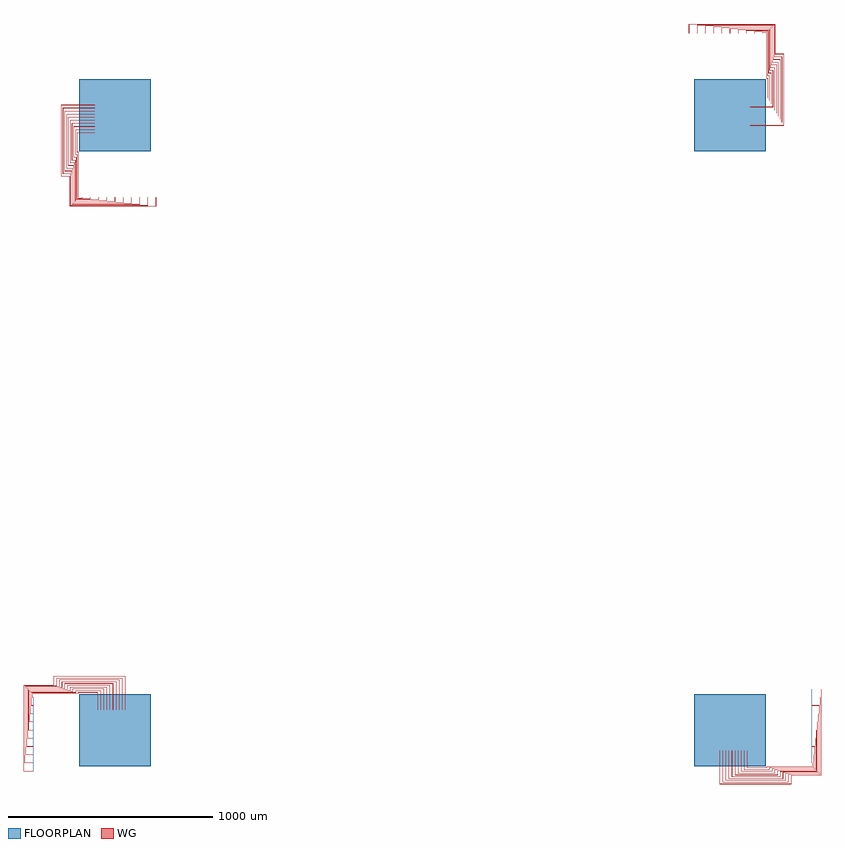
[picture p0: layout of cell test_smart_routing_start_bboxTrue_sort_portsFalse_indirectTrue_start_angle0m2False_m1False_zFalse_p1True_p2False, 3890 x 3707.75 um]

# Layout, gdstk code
import gdstk
lib = gdstk.Library(unit=1e-6, precision=1e-09)
def R(c, l, rs):  # rectangles x0, y0, x1, y1
    for r in rs: c.add(gdstk.rectangle(r[:2], r[2:], *l))
def P(c, l, *ps):  # polygons
    for p in ps: c.add(gdstk.Polygon(p, *l))
WG = (1, 0)
FLOORPLAN = (10, 0)

test_smart_routing_start = lib.new_cell('test_smart_routing_start_bboxTrue_sort_portsFalse_indirectTrue_start_angle0m2False_m1False_zFalse_p1True_p2False')
P(test_smart_routing_start, WG, [(-444.7,-199.95),(-444.7,219.7),(-298.45,219.7),(-298.45,262.45),(49.95,262.45),(49.95,100),(49.75,100),(49.75,262.25),(-298.25,262.25),(-298.25,219.5),(-444.5,219.5),(-444.5,-199.75),(-400,-199.75),(-400,-199.95)],
  [(-445,-200.25),(-445,220),(-298.75,220),(-298.75,262.75),(50.25,262.75),(50.25,100),(50.05,100),(50.05,262.55),(-298.55,262.55),(-298.55,219.8),(-444.8,219.8),(-444.8,-200.05),(-400,-200.05),(-400,-200.25)],
  [(-440.2,-159.95),(-440.2,215.2),(-285.2,215.2),(-285.2,253.7),(34.95,253.7),(34.95,100),(34.75,100),(34.75,253.5),(-285,253.5),(-285,215),(-440,215),(-440,-159.75),(-400,-159.75),(-400,-159.95)],
  [(-440.5,-160.25),(-440.5,215.5),(-285.5,215.5),(-285.5,254),(35.25,254),(35.25,100),(35.05,100),(35.05,253.8),(-285.3,253.8),(-285.3,215.3),(-440.3,215.3),(-440.3,-160.05),(-400,-160.05),(-400,-160.25)],
  [(-435.7,-119.95),(-435.7,210.7),(-271.95,210.7),(-271.95,244.95),(19.95,244.95),(19.95,100),(19.75,100),(19.75,244.75),(-271.75,244.75),(-271.75,210.5),(-435.5,210.5),(-435.5,-119.75),(-400,-119.75),(-400,-119.95)],
  [(-436,-120.25),(-436,211),(-272.25,211),(-272.25,245.25),(20.25,245.25),(20.25,100),(20.05,100),(20.05,245.05),(-272.05,245.05),(-272.05,210.8),(-435.8,210.8),(-435.8,-120.05),(-400,-120.05),(-400,-120.25)],
  [(-431.2,-79.95),(-431.2,206.2),(-258.7,206.2),(-258.7,236.2),(4.95,236.2),(4.95,100),(4.75,100),(4.75,236),(-258.5,236),(-258.5,206),(-431,206),(-431,-79.75),(-400,-79.75),(-400,-79.95)],
  [(-431.5,-80.25),(-431.5,206.5),(-259,206.5),(-259,236.5),(5.25,236.5),(5.25,100),(5.05,100),(5.05,236.3),(-258.8,236.3),(-258.8,206.3),(-431.3,206.3),(-431.3,-80.05),(-400,-80.05),(-400,-80.25)],
  [(-426.7,-39.95),(-426.7,201.7),(-245.45,201.7),(-245.45,227.45),(-10.05,227.45),(-10.05,100),(-10.25,100),(-10.25,227.25),(-245.25,227.25),(-245.25,201.5),(-426.5,201.5),(-426.5,-39.75),(-400,-39.75),(-400,-39.95)],
  [(-427,-40.25),(-427,202),(-245.75,202),(-245.75,227.75),(-9.75,227.75),(-9.75,100),(-9.95,100),(-9.95,227.55),(-245.55,227.55),(-245.55,201.8),(-426.8,201.8),(-426.8,-40.05),(-400,-40.05),(-400,-40.25)],
  [(-422.2,0.05),(-422.2,197.2),(-232.2,197.2),(-232.2,218.7),(-25.05,218.7),(-25.05,100),(-25.25,100),(-25.25,218.5),(-232,218.5),(-232,197),(-422,197),(-422,0.25),(-400,0.25),(-400,0.05)],
  [(-422.5,-0.25),(-422.5,197.5),(-232.5,197.5),(-232.5,219),(-24.75,219),(-24.75,100),(-24.95,100),(-24.95,218.8),(-232.3,218.8),(-232.3,197.3),(-422.3,197.3),(-422.3,-0.05),(-400,-0.05),(-400,-0.25)],
  [(-417.7,40.05),(-417.7,192.7),(-218.95,192.7),(-218.95,209.95),(-40.05,209.95),(-40.05,100),(-40.25,100),(-40.25,209.75),(-218.75,209.75),(-218.75,192.5),(-417.5,192.5),(-417.5,40.25),(-400,40.25),(-400,40.05)],
  [(-418,39.75),(-418,193),(-219.25,193),(-219.25,210.25),(-39.75,210.25),(-39.75,100),(-39.95,100),(-39.95,210.05),(-219.05,210.05),(-219.05,192.8),(-417.8,192.8),(-417.8,39.95),(-400,39.95),(-400,39.75)],
  [(-413.2,80.05),(-413.2,188.2),(-205.7,188.2),(-205.7,201.2),(-55.05,201.2),(-55.05,100),(-55.25,100),(-55.25,201),(-205.5,201),(-205.5,188),(-413,188),(-413,80.25),(-400,80.25),(-400,80.05)],
  [(-413.5,79.75),(-413.5,188.5),(-206,188.5),(-206,201.5),(-54.75,201.5),(-54.75,100),(-54.95,100),(-54.95,201.3),(-205.8,201.3),(-205.8,188.3),(-413.3,188.3),(-413.3,79.95),(-400,79.95),(-400,79.75)],
  [(-70.25,100),(-70.25,192.25),(-192.25,192.25),(-192.25,183.5),(-408.5,183.5),(-408.5,120.25),(-400,120.25),(-400,120.05),(-408.7,120.05),(-408.7,183.7),(-192.45,183.7),(-192.45,192.45),(-70.05,192.45),(-70.05,100)],
  [(-69.95,100),(-69.95,192.55),(-192.55,192.55),(-192.55,183.8),(-408.8,183.8),(-408.8,119.95),(-400,119.95),(-400,119.75),(-409,119.75),(-409,184),(-192.75,184),(-192.75,192.75),(-69.75,192.75),(-69.75,100)],
  [(-85.25,100),(-85.25,183.5),(-179,183.5),(-179,179),(-404,179),(-404,160.25),(-400,160.25),(-400,160.05),(-404.2,160.05),(-404.2,179.2),(-179.2,179.2),(-179.2,183.7),(-85.05,183.7),(-85.05,100)],
  [(-84.95,100),(-84.95,183.8),(-179.3,183.8),(-179.3,179.3),(-404.3,179.3),(-404.3,159.95),(-400,159.95),(-400,159.75),(-404.5,159.75),(-404.5,179.5),(-179.5,179.5),(-179.5,184),(-84.75,184),(-84.75,100)],
  [(-219.7,2555.3),(-219.7,2701.55),(-262.45,2701.55),(-262.45,3049.95),(-100,3049.95),(-100,3049.75),(-262.25,3049.75),(-262.25,2701.75),(-219.5,2701.75),(-219.5,2555.5),(199.75,2555.5),(199.75,2600),(199.95,2600),(199.95,2555.3)],
  [(-220,2555),(-220,2701.25),(-262.75,2701.25),(-262.75,3050.25),(-100,3050.25),(-100,3050.05),(-262.55,3050.05),(-262.55,2701.45),(-219.8,2701.45),(-219.8,2555.2),(200.05,2555.2),(200.05,2600),(200.25,2600),(200.25,2555)],
  [(-215.2,2559.8),(-215.2,2714.8),(-253.7,2714.8),(-253.7,3034.95),(-100,3034.95),(-100,3034.75),(-253.5,3034.75),(-253.5,2715),(-215,2715),(-215,2560),(159.75,2560),(159.75,2600),(159.95,2600),(159.95,2559.8)],
  [(-215.5,2559.5),(-215.5,2714.5),(-254,2714.5),(-254,3035.25),(-100,3035.25),(-100,3035.05),(-253.8,3035.05),(-253.8,2714.7),(-215.3,2714.7),(-215.3,2559.7),(160.05,2559.7),(160.05,2600),(160.25,2600),(160.25,2559.5)],
  [(-210.7,2564.3),(-210.7,2728.05),(-244.95,2728.05),(-244.95,3019.95),(-100,3019.95),(-100,3019.75),(-244.75,3019.75),(-244.75,2728.25),(-210.5,2728.25),(-210.5,2564.5),(119.75,2564.5),(119.75,2600),(119.95,2600),(119.95,2564.3)],
  [(-211,2564),(-211,2727.75),(-245.25,2727.75),(-245.25,3020.25),(-100,3020.25),(-100,3020.05),(-245.05,3020.05),(-245.05,2727.95),(-210.8,2727.95),(-210.8,2564.2),(120.05,2564.2),(120.05,2600),(120.25,2600),(120.25,2564)],
  [(-206.2,2568.8),(-206.2,2741.3),(-236.2,2741.3),(-236.2,3004.95),(-100,3004.95),(-100,3004.75),(-236,3004.75),(-236,2741.5),(-206,2741.5),(-206,2569),(79.75,2569),(79.75,2600),(79.95,2600),(79.95,2568.8)],
  [(-206.5,2568.5),(-206.5,2741),(-236.5,2741),(-236.5,3005.25),(-100,3005.25),(-100,3005.05),(-236.3,3005.05),(-236.3,2741.2),(-206.3,2741.2),(-206.3,2568.7),(80.05,2568.7),(80.05,2600),(80.25,2600),(80.25,2568.5)],
  [(-201.7,2573.3),(-201.7,2754.55),(-227.45,2754.55),(-227.45,2989.95),(-100,2989.95),(-100,2989.75),(-227.25,2989.75),(-227.25,2754.75),(-201.5,2754.75),(-201.5,2573.5),(39.75,2573.5),(39.75,2600),(39.95,2600),(39.95,2573.3)],
  [(-202,2573),(-202,2754.25),(-227.75,2754.25),(-227.75,2990.25),(-100,2990.25),(-100,2990.05),(-227.55,2990.05),(-227.55,2754.45),(-201.8,2754.45),(-201.8,2573.2),(40.05,2573.2),(40.05,2600),(40.25,2600),(40.25,2573)],
  [(-197.2,2577.8),(-197.2,2767.8),(-218.7,2767.8),(-218.7,2974.95),(-100,2974.95),(-100,2974.75),(-218.5,2974.75),(-218.5,2768),(-197,2768),(-197,2578),(-0.25,2578),(-0.25,2600),(-0.05,2600),(-0.05,2577.8)],
  [(-197.5,2577.5),(-197.5,2767.5),(-219,2767.5),(-219,2975.25),(-100,2975.25),(-100,2975.05),(-218.8,2975.05),(-218.8,2767.7),(-197.3,2767.7),(-197.3,2577.7),(0.05,2577.7),(0.05,2600),(0.25,2600),(0.25,2577.5)],
  [(-192.7,2582.3),(-192.7,2781.05),(-209.95,2781.05),(-209.95,2959.95),(-100,2959.95),(-100,2959.75),(-209.75,2959.75),(-209.75,2781.25),(-192.5,2781.25),(-192.5,2582.5),(-40.25,2582.5),(-40.25,2600),(-40.05,2600),(-40.05,2582.3)],
  [(-193,2582),(-193,2780.75),(-210.25,2780.75),(-210.25,2960.25),(-100,2960.25),(-100,2960.05),(-210.05,2960.05),(-210.05,2780.95),(-192.8,2780.95),(-192.8,2582.2),(-39.95,2582.2),(-39.95,2600),(-39.75,2600),(-39.75,2582)],
  [(-188.2,2586.8),(-188.2,2794.3),(-201.2,2794.3),(-201.2,2944.95),(-100,2944.95),(-100,2944.75),(-201,2944.75),(-201,2794.5),(-188,2794.5),(-188,2587),(-80.25,2587),(-80.25,2600),(-80.05,2600),(-80.05,2586.8)],
  [(-188.5,2586.5),(-188.5,2794),(-201.5,2794),(-201.5,2945.25),(-100,2945.25),(-100,2945.05),(-201.3,2945.05),(-201.3,2794.2),(-188.3,2794.2),(-188.3,2586.7),(-79.95,2586.7),(-79.95,2600),(-79.75,2600),(-79.75,2586.5)],
  [(-183.7,2591.3),(-183.7,2807.55),(-192.45,2807.55),(-192.45,2929.95),(-100,2929.95),(-100,2929.75),(-192.25,2929.75),(-192.25,2807.75),(-183.5,2807.75),(-183.5,2591.5),(-120.25,2591.5),(-120.25,2600),(-120.05,2600),(-120.05,2591.3)],
  [(-184,2591),(-184,2807.25),(-192.75,2807.25),(-192.75,2930.25),(-100,2930.25),(-100,2930.05),(-192.55,2930.05),(-192.55,2807.45),(-183.8,2807.45),(-183.8,2591.2),(-119.95,2591.2),(-119.95,2600),(-119.75,2600),(-119.75,2591)],
  [(-179.2,2595.8),(-179.2,2820.8),(-183.7,2820.8),(-183.7,2914.95),(-100,2914.95),(-100,2914.75),(-183.5,2914.75),(-183.5,2821),(-179,2821),(-179,2596),(-160.25,2596),(-160.25,2600),(-160.05,2600),(-160.05,2595.8)],
  [(-179.5,2595.5),(-179.5,2820.5),(-184,2820.5),(-184,2915.25),(-100,2915.25),(-100,2915.05),(-183.8,2915.05),(-183.8,2820.7),(-179.3,2820.7),(-179.3,2595.7),(-159.95,2595.7),(-159.95,2600),(-159.75,2600),(-159.75,2595.5)],
  [(2950.05,-262.45),(2950.05,-100),(2950.25,-100),(2950.25,-262.25),(3298.25,-262.25),(3298.25,-219.5),(3444.5,-219.5),(3444.5,199.75),(3400,199.75),(3400,199.95),(3444.7,199.95),(3444.7,-219.7),(3298.45,-219.7),(3298.45,-262.45)],
  [(2949.75,-262.75),(2949.75,-100),(2949.95,-100),(2949.95,-262.55),(3298.55,-262.55),(3298.55,-219.8),(3444.8,-219.8),(3444.8,200.05),(3400,200.05),(3400,200.25),(3445,200.25),(3445,-220),(3298.75,-220),(3298.75,-262.75)],
  [(2965.05,-253.7),(2965.05,-100),(2965.25,-100),(2965.25,-253.5),(3285,-253.5),(3285,-215),(3440,-215),(3440,159.75),(3400,159.75),(3400,159.95),(3440.2,159.95),(3440.2,-215.2),(3285.2,-215.2),(3285.2,-253.7)],
  [(2964.75,-254),(2964.75,-100),(2964.95,-100),(2964.95,-253.8),(3285.3,-253.8),(3285.3,-215.3),(3440.3,-215.3),(3440.3,160.05),(3400,160.05),(3400,160.25),(3440.5,160.25),(3440.5,-215.5),(3285.5,-215.5),(3285.5,-254)],
  [(2980.05,-244.95),(2980.05,-100),(2980.25,-100),(2980.25,-244.75),(3271.75,-244.75),(3271.75,-210.5),(3435.5,-210.5),(3435.5,119.75),(3400,119.75),(3400,119.95),(3435.7,119.95),(3435.7,-210.7),(3271.95,-210.7),(3271.95,-244.95)],
  [(2979.75,-245.25),(2979.75,-100),(2979.95,-100),(2979.95,-245.05),(3272.05,-245.05),(3272.05,-210.8),(3435.8,-210.8),(3435.8,120.05),(3400,120.05),(3400,120.25),(3436,120.25),(3436,-211),(3272.25,-211),(3272.25,-245.25)],
  [(2995.05,-236.2),(2995.05,-100),(2995.25,-100),(2995.25,-236),(3258.5,-236),(3258.5,-206),(3431,-206),(3431,79.75),(3400,79.75),(3400,79.95),(3431.2,79.95),(3431.2,-206.2),(3258.7,-206.2),(3258.7,-236.2)],
  [(2994.75,-236.5),(2994.75,-100),(2994.95,-100),(2994.95,-236.3),(3258.8,-236.3),(3258.8,-206.3),(3431.3,-206.3),(3431.3,80.05),(3400,80.05),(3400,80.25),(3431.5,80.25),(3431.5,-206.5),(3259,-206.5),(3259,-236.5)],
  [(3010.05,-227.45),(3010.05,-100),(3010.25,-100),(3010.25,-227.25),(3245.25,-227.25),(3245.25,-201.5),(3426.5,-201.5),(3426.5,39.75),(3400,39.75),(3400,39.95),(3426.7,39.95),(3426.7,-201.7),(3245.45,-201.7),(3245.45,-227.45)],
  [(3009.75,-227.75),(3009.75,-100),(3009.95,-100),(3009.95,-227.55),(3245.55,-227.55),(3245.55,-201.8),(3426.8,-201.8),(3426.8,40.05),(3400,40.05),(3400,40.25),(3427,40.25),(3427,-202),(3245.75,-202),(3245.75,-227.75)],
  [(3025.05,-218.7),(3025.05,-100),(3025.25,-100),(3025.25,-218.5),(3232,-218.5),(3232,-197),(3422,-197),(3422,-0.25),(3400,-0.25),(3400,-0.05),(3422.2,-0.05),(3422.2,-197.2),(3232.2,-197.2),(3232.2,-218.7)],
  [(3024.75,-219),(3024.75,-100),(3024.95,-100),(3024.95,-218.8),(3232.3,-218.8),(3232.3,-197.3),(3422.3,-197.3),(3422.3,0.05),(3400,0.05),(3400,0.25),(3422.5,0.25),(3422.5,-197.5),(3232.5,-197.5),(3232.5,-219)],
  [(3040.05,-209.95),(3040.05,-100),(3040.25,-100),(3040.25,-209.75),(3218.75,-209.75),(3218.75,-192.5),(3417.5,-192.5),(3417.5,-40.25),(3400,-40.25),(3400,-40.05),(3417.7,-40.05),(3417.7,-192.7),(3218.95,-192.7),(3218.95,-209.95)],
  [(3039.75,-210.25),(3039.75,-100),(3039.95,-100),(3039.95,-210.05),(3219.05,-210.05),(3219.05,-192.8),(3417.8,-192.8),(3417.8,-39.95),(3400,-39.95),(3400,-39.75),(3418,-39.75),(3418,-193),(3219.25,-193),(3219.25,-210.25)],
  [(3055.05,-201.2),(3055.05,-100),(3055.25,-100),(3055.25,-201),(3205.5,-201),(3205.5,-188),(3413,-188),(3413,-80.25),(3400,-80.25),(3400,-80.05),(3413.2,-80.05),(3413.2,-188.2),(3205.7,-188.2),(3205.7,-201.2)],
  [(3054.75,-201.5),(3054.75,-100),(3054.95,-100),(3054.95,-201.3),(3205.8,-201.3),(3205.8,-188.3),(3413.3,-188.3),(3413.3,-79.95),(3400,-79.95),(3400,-79.75),(3413.5,-79.75),(3413.5,-188.5),(3206,-188.5),(3206,-201.5)],
  [(3069.75,-192.75),(3069.75,-100),(3069.95,-100),(3069.95,-192.55),(3192.55,-192.55),(3192.55,-183.8),(3408.8,-183.8),(3408.8,-119.95),(3400,-119.95),(3400,-119.75),(3409,-119.75),(3409,-184),(3192.75,-184),(3192.75,-192.75)],
  [(3070.05,-192.45),(3070.05,-100),(3070.25,-100),(3070.25,-192.25),(3192.25,-192.25),(3192.25,-183.5),(3408.5,-183.5),(3408.5,-120.25),(3400,-120.25),(3400,-120.05),(3408.7,-120.05),(3408.7,-183.7),(3192.45,-183.7),(3192.45,-192.45)],
  [(3084.75,-184),(3084.75,-100),(3084.95,-100),(3084.95,-183.8),(3179.3,-183.8),(3179.3,-179.3),(3404.3,-179.3),(3404.3,-159.95),(3400,-159.95),(3400,-159.75),(3404.5,-159.75),(3404.5,-179.5),(3179.5,-179.5),(3179.5,-184)],
  [(3085.05,-183.7),(3085.05,-100),(3085.25,-100),(3085.25,-183.5),(3179,-183.5),(3179,-179),(3404,-179),(3404,-160.25),(3400,-160.25),(3400,-160.05),(3404.2,-160.05),(3404.2,-179.2),(3179.2,-179.2),(3179.2,-183.7)],
  [(3100,2950.05),(3100,2950.25),(3262.25,2950.25),(3262.25,3298.25),(3219.5,3298.25),(3219.5,3444.5),(2800.25,3444.5),(2800.25,3400),(2800.05,3400),(2800.05,3444.7),(3219.7,3444.7),(3219.7,3298.45),(3262.45,3298.45),(3262.45,2950.05)],
  [(3100,2949.75),(3100,2949.95),(3262.55,2949.95),(3262.55,3298.55),(3219.8,3298.55),(3219.8,3444.8),(2799.95,3444.8),(2799.95,3400),(2799.75,3400),(2799.75,3445),(3220,3445),(3220,3298.75),(3262.75,3298.75),(3262.75,2949.75)],
  [(3100,2965.05),(3100,2965.25),(3253.5,2965.25),(3253.5,3285),(3215,3285),(3215,3440),(2840.25,3440),(2840.25,3400),(2840.05,3400),(2840.05,3440.2),(3215.2,3440.2),(3215.2,3285.2),(3253.7,3285.2),(3253.7,2965.05)],
  [(3100,2964.75),(3100,2964.95),(3253.8,2964.95),(3253.8,3285.3),(3215.3,3285.3),(3215.3,3440.3),(2839.95,3440.3),(2839.95,3400),(2839.75,3400),(2839.75,3440.5),(3215.5,3440.5),(3215.5,3285.5),(3254,3285.5),(3254,2964.75)],
  [(3100,2980.05),(3100,2980.25),(3244.75,2980.25),(3244.75,3271.75),(3210.5,3271.75),(3210.5,3435.5),(2880.25,3435.5),(2880.25,3400),(2880.05,3400),(2880.05,3435.7),(3210.7,3435.7),(3210.7,3271.95),(3244.95,3271.95),(3244.95,2980.05)],
  [(3100,2979.75),(3100,2979.95),(3245.05,2979.95),(3245.05,3272.05),(3210.8,3272.05),(3210.8,3435.8),(2879.95,3435.8),(2879.95,3400),(2879.75,3400),(2879.75,3436),(3211,3436),(3211,3272.25),(3245.25,3272.25),(3245.25,2979.75)],
  [(3100,2995.05),(3100,2995.25),(3236,2995.25),(3236,3258.5),(3206,3258.5),(3206,3431),(2920.25,3431),(2920.25,3400),(2920.05,3400),(2920.05,3431.2),(3206.2,3431.2),(3206.2,3258.7),(3236.2,3258.7),(3236.2,2995.05)],
  [(3100,2994.75),(3100,2994.95),(3236.3,2994.95),(3236.3,3258.8),(3206.3,3258.8),(3206.3,3431.3),(2919.95,3431.3),(2919.95,3400),(2919.75,3400),(2919.75,3431.5),(3206.5,3431.5),(3206.5,3259),(3236.5,3259),(3236.5,2994.75)],
  [(3100,3010.05),(3100,3010.25),(3227.25,3010.25),(3227.25,3245.25),(3201.5,3245.25),(3201.5,3426.5),(2960.25,3426.5),(2960.25,3400),(2960.05,3400),(2960.05,3426.7),(3201.7,3426.7),(3201.7,3245.45),(3227.45,3245.45),(3227.45,3010.05)],
  [(3100,3009.75),(3100,3009.95),(3227.55,3009.95),(3227.55,3245.55),(3201.8,3245.55),(3201.8,3426.8),(2959.95,3426.8),(2959.95,3400),(2959.75,3400),(2959.75,3427),(3202,3427),(3202,3245.75),(3227.75,3245.75),(3227.75,3009.75)],
  [(3100,3025.05),(3100,3025.25),(3218.5,3025.25),(3218.5,3232),(3197,3232),(3197,3422),(3000.25,3422),(3000.25,3400),(3000.05,3400),(3000.05,3422.2),(3197.2,3422.2),(3197.2,3232.2),(3218.7,3232.2),(3218.7,3025.05)],
  [(3100,3024.75),(3100,3024.95),(3218.8,3024.95),(3218.8,3232.3),(3197.3,3232.3),(3197.3,3422.3),(2999.95,3422.3),(2999.95,3400),(2999.75,3400),(2999.75,3422.5),(3197.5,3422.5),(3197.5,3232.5),(3219,3232.5),(3219,3024.75)],
  [(3100,3040.05),(3100,3040.25),(3209.75,3040.25),(3209.75,3218.75),(3192.5,3218.75),(3192.5,3417.5),(3040.25,3417.5),(3040.25,3400),(3040.05,3400),(3040.05,3417.7),(3192.7,3417.7),(3192.7,3218.95),(3209.95,3218.95),(3209.95,3040.05)],
  [(3100,3039.75),(3100,3039.95),(3210.05,3039.95),(3210.05,3219.05),(3192.8,3219.05),(3192.8,3417.8),(3039.95,3417.8),(3039.95,3400),(3039.75,3400),(3039.75,3418),(3193,3418),(3193,3219.25),(3210.25,3219.25),(3210.25,3039.75)],
  [(3100,3055.05),(3100,3055.25),(3201,3055.25),(3201,3205.5),(3188,3205.5),(3188,3413),(3080.25,3413),(3080.25,3400),(3080.05,3400),(3080.05,3413.2),(3188.2,3413.2),(3188.2,3205.7),(3201.2,3205.7),(3201.2,3055.05)],
  [(3100,3054.75),(3100,3054.95),(3201.3,3054.95),(3201.3,3205.8),(3188.3,3205.8),(3188.3,3413.3),(3079.95,3413.3),(3079.95,3400),(3079.75,3400),(3079.75,3413.5),(3188.5,3413.5),(3188.5,3206),(3201.5,3206),(3201.5,3054.75)],
  [(3100,3070.05),(3100,3070.25),(3192.25,3070.25),(3192.25,3192.25),(3183.5,3192.25),(3183.5,3408.5),(3120.25,3408.5),(3120.25,3400),(3120.05,3400),(3120.05,3408.7),(3183.7,3408.7),(3183.7,3192.45),(3192.45,3192.45),(3192.45,3070.05)],
  [(3100,3069.75),(3100,3069.95),(3192.55,3069.95),(3192.55,3192.55),(3183.8,3192.55),(3183.8,3408.8),(3119.95,3408.8),(3119.95,3400),(3119.75,3400),(3119.75,3409),(3184,3409),(3184,3192.75),(3192.75,3192.75),(3192.75,3069.75)],
  [(3100,3085.05),(3100,3085.25),(3183.5,3085.25),(3183.5,3179),(3179,3179),(3179,3404),(3160.25,3404),(3160.25,3400),(3160.05,3400),(3160.05,3404.2),(3179.2,3404.2),(3179.2,3179.2),(3183.7,3179.2),(3183.7,3085.05)],
  [(3100,3084.75),(3100,3084.95),(3183.8,3084.95),(3183.8,3179.3),(3179.3,3179.3),(3179.3,3404.3),(3159.95,3404.3),(3159.95,3400),(3159.75,3400),(3159.75,3404.5),(3179.5,3404.5),(3179.5,3179.5),(3184,3179.5),(3184,3084.75)])
R(test_smart_routing_start, FLOORPLAN, [(-175,-175,175,175), (2825,-175,3175,175), (-175,2825,175,3175), (2825,2825,3175,3175)])
P(test_smart_routing_start, FLOORPLAN, [(-400,-200),(-400,160),(-400,160),(-400,-200)],
  [(-160,2600),(-160,2600),(200,2600),(200,2600)],
  [(3400,-160),(3400,200),(3400,200),(3400,-160)],
  [(2800,3400),(2800,3400),(3160,3400),(3160,3400)])

lib.write_gds('test_smart_routing_start_bboxTrue_sort_portsFalse_indirectTrue_start_angle0m2False_m1False_zFalse_p1True_p2False.gds')
